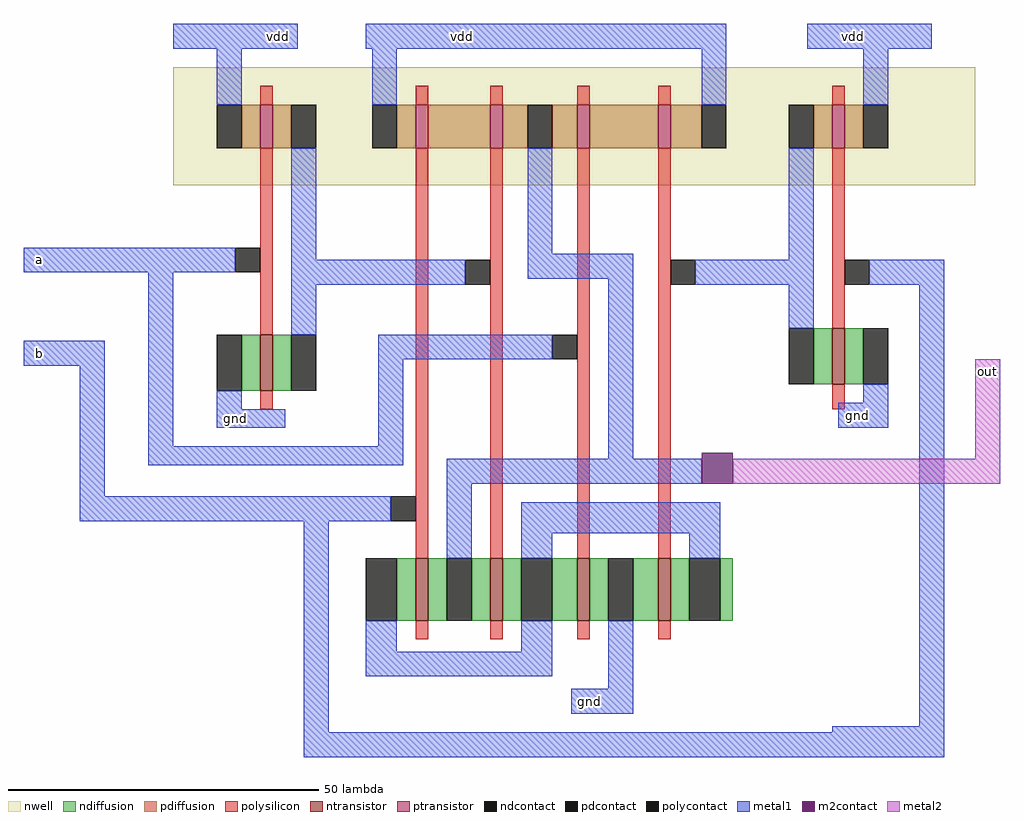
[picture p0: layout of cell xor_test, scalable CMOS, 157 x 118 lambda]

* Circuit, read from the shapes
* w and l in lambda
.subckt xor_test a b gnd out vdd
M1 n1 a gnd VSUBS nfet w=9 l=2
M2 out b n2 VSUBS nfet w=10 l=2
M3 n2 n1 out VSUBS nfet w=10 l=2
M4 gnd a n2 VSUBS nfet w=10 l=2
M5 n2 n3 gnd VSUBS nfet w=10 l=2
M6 gnd b n3 VSUBS nfet w=9 l=2
M7 n1 a vdd n4 pfet w=7 l=2
M8 n5 b vdd n4 pfet w=7 l=2
M9 out n1 n5 n4 pfet w=7 l=2
M10 n6 a out n4 pfet w=7 l=2
M11 vdd n3 n6 n4 pfet w=7 l=2
M12 vdd b n3 n4 pfet w=7 l=2
.ends

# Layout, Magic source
magic
tech scmos
<< nwell >>
rect -16 22 113 41
<< ntransistor >>
rect -2 -11 0 -2
rect 90 -10 92 -1
rect 23 -48 25 -38
rect 35 -48 37 -38
rect 49 -48 51 -38
rect 62 -48 64 -38
<< ptransistor >>
rect -2 28 0 35
rect 23 28 25 35
rect 35 28 37 35
rect 49 28 51 35
rect 62 28 64 35
rect 90 28 92 35
<< ndiffusion >>
rect -5 -11 -2 -2
rect 0 -11 3 -2
rect 87 -10 90 -1
rect 92 -10 95 -1
rect 20 -48 23 -38
rect 25 -48 28 -38
rect 32 -48 35 -38
rect 37 -48 40 -38
rect 45 -48 49 -38
rect 51 -48 54 -38
rect 58 -48 62 -38
rect 64 -48 67 -38
rect 72 -48 74 -38
<< pdiffusion >>
rect -5 28 -2 35
rect 0 28 3 35
rect 20 28 23 35
rect 25 28 35 35
rect 37 28 41 35
rect 45 28 49 35
rect 51 28 62 35
rect 64 28 69 35
rect 87 28 90 35
rect 92 28 95 35
<< ndcontact >>
rect -9 -11 -5 -2
rect 3 -11 7 -2
rect 83 -10 87 -1
rect 95 -10 99 -1
rect 15 -48 20 -38
rect 28 -48 32 -38
rect 40 -48 45 -38
rect 54 -48 58 -38
rect 67 -48 72 -38
<< pdcontact >>
rect -9 28 -5 35
rect 3 28 7 35
rect 16 28 20 35
rect 41 28 45 35
rect 69 28 73 35
rect 83 28 87 35
rect 95 28 99 35
<< polysilicon >>
rect -2 35 0 38
rect 23 35 25 38
rect 35 35 37 38
rect 49 35 51 38
rect 62 35 64 38
rect 90 35 92 38
rect -2 -2 0 28
rect -2 -14 0 -11
rect 23 -38 25 28
rect 35 -38 37 28
rect 49 -38 51 28
rect 62 -38 64 28
rect 90 -1 92 28
rect 90 -14 92 -10
rect 23 -51 25 -48
rect 35 -51 37 -48
rect 49 -51 51 -48
rect 62 -51 64 -48
<< polycontact >>
rect -6 8 -2 12
rect 19 -32 23 -28
rect 31 6 35 10
rect 45 -6 49 -2
rect 64 6 68 10
rect 92 6 96 10
<< metal1 >>
rect -16 44 4 48
rect 15 44 73 48
rect 86 44 106 48
rect -9 35 -5 44
rect 16 35 20 44
rect 69 35 73 44
rect 95 35 99 44
rect -40 8 -6 12
rect 3 10 7 28
rect 41 11 45 28
rect -40 -7 -27 -3
rect -31 -28 -27 -7
rect -20 -20 -16 8
rect 3 6 31 10
rect 41 7 58 11
rect 83 10 87 28
rect 3 -2 7 6
rect 17 -6 45 -2
rect -9 -14 -5 -11
rect -9 -17 2 -14
rect 17 -20 21 -6
rect -20 -23 21 -20
rect 54 -22 58 7
rect 68 6 87 10
rect 96 6 108 10
rect 83 -1 87 6
rect 95 -13 99 -10
rect 91 -17 99 -13
rect 28 -26 69 -22
rect -31 -32 19 -28
rect 5 -66 9 -32
rect 28 -38 32 -26
rect 40 -34 72 -29
rect 40 -38 45 -34
rect 67 -38 72 -34
rect 15 -53 20 -48
rect 40 -53 45 -48
rect 15 -57 45 -53
rect 54 -59 58 -48
rect 48 -63 58 -59
rect 104 -65 108 6
rect 90 -66 108 -65
rect 5 -70 108 -66
<< m2contact >>
rect 69 -26 74 -21
<< metal2 >>
rect 113 -22 117 -6
rect 74 -26 117 -22
<< labels >>
rlabel metal1 -1 44 3 48 5 vdd
rlabel metal1 48 -63 54 -59 1 gnd
rlabel metal1 91 -17 97 -13 1 gnd
rlabel metal1 -9 -17 -3 -14 1 gnd
rlabel metal1 91 44 96 48 5 vdd
rlabel metal1 28 44 33 48 5 vdd
rlabel metal1 -40 -7 -35 -3 3 b
rlabel metal1 -40 8 -35 12 3 a
rlabel metal2 113 -10 117 -6 7 out
<< end >>
